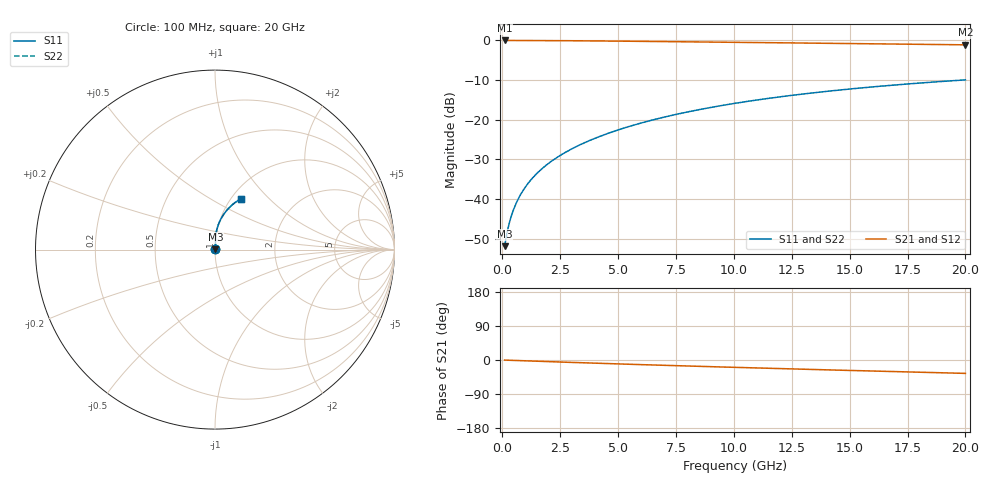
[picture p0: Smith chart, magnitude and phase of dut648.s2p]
! Touchstone file exported from HFSS 2024.1.0
!  File:  C:/UserFiles/LocalFiles/RDL_TSV_Batchsim/temp_RDL_top_648_1779781248.aedt
!  Generated:  03:42:59 PM May 26, 2026
!  Design:  RDL_top
!  Project:  temp_RDL_top_648_1779781248
!  Setup:  Setup1
!  Solution:  Sweep
! Variables:
!  dtsv = 10.80580581um
!  hbump = 3um
!  htsv = 57.46um
!  ldown = 100um
!  lrdl = 505.66um
!  p = 40
!  p1 = 51.08um
!  rhole = 1um
!  t = 450um
!  tdown = 3.915915916um
!  trdl = 4.08um
!  wdown = 15.38538539um
!  wrdl = 24.22um
# GHz S MA R 50.000000
! Terminal data exported
! Port[1] = Box2_T1
! Port[2] = Box2_T2
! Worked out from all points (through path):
!   200 points, 100 MHz to 20 GHz, reference 50 ohm
!   highest |S21| = -0.02 dB at 100 MHz (marker M1); lowest = -1.1 dB at 20 GHz (marker M2)
!   group delay of S21, straight-line fit = 4.84 ps
!   lowest |S11| = -51.9 dB at 100 MHz (marker M3), VSWR 1.01, Z = 50.2 + j0.157 ohm
!   |S11| at or under -10 dB: start of sweep to 19.87 GHz
!   |S22| runs from -51.9 to -10.0 dB; largest |S21 - S12| = 4.2e-15
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0.1  0.002548 37.8  0.998 -0.2  0.998 -0.2  0.002548 37.8
! Gamma 0 0 0 0
! Port Impedance 50 0 50 0
0.2  0.003715 54.9  0.9978 -0.4  0.9978 -0.4  0.003715 54.9
0.3  0.004977 63.1  0.9977 -0.7  0.9977 -0.7  0.004977 63.1
0.4  0.006256 68.2  0.9975 -0.9  0.9975 -0.9  0.006256 68.2
0.5  0.007549 71.7  0.9974 -1.1  0.9974 -1.1  0.00755 71.7
0.6  0.008858 74.2  0.9972 -1.3  0.9972 -1.3  0.008858 74.2
0.8  0.01152 77.8  0.9969 -1.7  0.9969 -1.7  0.01152 77.8
1.1  0.01559 81.1  0.9964 -2.4  0.9964 -2.4  0.01559 81.1
1.5  0.02113 83.6  0.9954 -3.2  0.9954 -3.2  0.02112 83.6
1.8  0.02535 84.7  0.9945 -3.9  0.9945 -3.9  0.02535 84.7
2.1  0.02964 85.6  0.9935 -4.5  0.9935 -4.5  0.02964 85.6
2.7  0.0384 86.6  0.9912 -5.7  0.9912 -5.7  0.0384 86.6
3.5  0.05048 87.2  0.9874 -7.4  0.9874 -7.4  0.05048 87.2
4.2  0.06143 87.3  0.9836 -8.8  0.9836 -8.8  0.06143 87.3
5  0.07434 87.0  0.9788 -10.3  0.9788 -10.3  0.07433 87.0
6.8  0.1046 85.3  0.9672 -13.7  0.9672 -13.7  0.1046 85.3
8.4  0.1323 83.1  0.9566 -16.6  0.9566 -16.6  0.1323 83.0
10.1  0.1619 80.3  0.9452 -19.5  0.9452 -19.5  0.1618 80.3
11.7  0.1893 77.5  0.9345 -22.2  0.9345 -22.2  0.1893 77.5
13.4  0.2178 74.4  0.9232 -25.0  0.9232 -25.0  0.2178 74.4
16.7  0.2702 68.6  0.9012 -30.3  0.9012 -30.3  0.2701 68.6
20  0.318 63.0  0.8792 -35.3  0.8792 -35.3  0.3179 63.0
